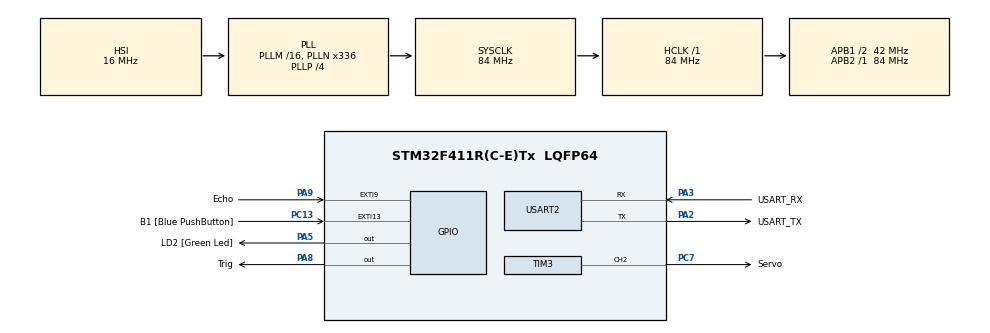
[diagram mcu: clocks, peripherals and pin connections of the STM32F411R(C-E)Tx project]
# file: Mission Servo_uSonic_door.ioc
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Mcu.Family=STM32F4
Mcu.Name=STM32F411R(C-E)Tx
Mcu.Package=LQFP64
NVIC.EXTI9_5_IRQn=true\:0\:0\:false\:false\:true\:true\:true\:true
NVIC.PriorityGroup=NVIC_PRIORITYGROUP_0
NVIC.TIM4_IRQn=true\:0\:0\:false\:false\:true\:true\:true\:true
PA13.GPIO_Label=TMS
PA13.Mode=Serial_Wire
PA13.Signal=SYS_JTMS-SWDIO
PA14.GPIO_Label=TCK
PA14.Mode=Serial_Wire
PA14.Signal=SYS_JTCK-SWCLK
PA2.GPIO_Label=USART_TX
PA2.Mode=Asynchronous
PA2.Signal=USART2_TX
PA3.GPIO_Label=USART_RX
PA3.Mode=Asynchronous
PA3.Signal=USART2_RX
PA5.GPIO_Label=LD2 [Green Led]
PA5.Signal=GPIO_Output
PA8.GPIO_Label=Trig
PA8.Signal=GPIO_Output
PA9.GPIO_Label=Echo
PA9.GPIO_ModeDefaultEXTI=GPIO_MODE_IT_RISING_FALLING
PA9.Signal=GPXTI9
PB3.GPIO_Label=SWO
PB3.Signal=SYS_JTDO-SWO
PC13-ANTI_TAMP.GPIO_Label=B1 [Blue PushButton]
PC13-ANTI_TAMP.GPIO_ModeDefaultEXTI=GPIO_MODE_IT_FALLING
PC13-ANTI_TAMP.Signal=GPXTI13
PC14-OSC32_IN.Mode=LSE-External-Oscillator
PC14-OSC32_IN.Signal=RCC_OSC32_IN
PC15-OSC32_OUT.Mode=LSE-External-Oscillator
PC15-OSC32_OUT.Signal=RCC_OSC32_OUT
PC7.GPIO_Label=Servo
PC7.Signal=S_TIM3_CH2
PH0\ -\ OSC_IN.Mode=HSE-External-Clock-Source
PH0\ -\ OSC_IN.Signal=RCC_OSC_IN
PH1\ -\ OSC_OUT.Mode=HSE-External-Clock-Source
PH1\ -\ OSC_OUT.Signal=RCC_OSC_OUT
ProjectManager.HeapSize=0x200
ProjectManager.StackSize=0x400
ProjectManager.TargetToolchain=STM32CubeIDE
RCC.48MHZClocksFreq_Value=84000000
RCC.AHBFreq_Value=84000000
RCC.APB1CLKDivider=RCC_HCLK_DIV2
RCC.APB1Freq_Value=42000000
RCC.APB1TimFreq_Value=84000000
RCC.APB2Freq_Value=84000000
RCC.APB2TimFreq_Value=84000000
RCC.CortexFreq_Value=84000000
RCC.FLatency-AdvancedSettings=FLASH_LATENCY_2
RCC.HCLKFreq_Value=84000000
RCC.HSE_VALUE=8000000
RCC.HSI_VALUE=16000000
RCC.PLLN=336
RCC.PLLP=RCC_PLLP_DIV4
RCC.SYSCLKFreq_VALUE=84000000
RCC.SYSCLKSource=RCC_SYSCLKSOURCE_PLLCLK
RCC.VCOOutputFreq_Value=336000000
SH.S_TIM3_CH2.0=TIM3_CH2,PWM Generation2 CH2
TIM2.Prescaler=84-1
TIM3.Channel-PWM\ Generation2\ CH2=TIM_CHANNEL_2
TIM3.Period=1000-1
TIM3.Prescaler=1680-1
TIM3.Pulse-PWM\ Generation2\ CH2=50
TIM4.Period=5000-1
TIM4.Prescaler=2100-1
USART2.VirtualMode=VM_ASYNC
VP_TIM2_VS_ClockSourceINT.Mode=Internal
VP_TIM4_VS_ClockSourceINT.Mode=Internal
board=NUCLEO-F411RE

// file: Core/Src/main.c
/* USER CODE BEGIN Header */
/**
  ******************************************************************************
  * @file           : main.c
  * @brief          : Main program body
  ******************************************************************************
  * @attention
  *
  * Copyright (c) 2025 STMicroelectronics.
  * All rights reserved.
  *
  * This software is licensed under terms that can be found in the LICENSE file
  * in the root directory of this software component.
  * If no LICENSE file comes with this software, it is provided AS-IS.
  *
  ******************************************************************************
  */
/* USER CODE END Header */
#include "main.h"

TIM_HandleTypeDef htim2;
TIM_HandleTypeDef htim3;
TIM_HandleTypeDef htim4;

UART_HandleTypeDef huart2;

void SystemClock_Config(void);
static void MX_GPIO_Init(void);
static void MX_USART2_UART_Init(void);
static void MX_TIM3_Init(void);
static void MX_TIM2_Init(void);
static void MX_TIM4_Init(void);

/* USER CODE BEGIN 0 */
int t1 = 0, t2 = 0;
double dist = 0.0;
void HAL_GPIO_EXTI_Callback(uint16_t GPIO_Pin)
{

	if(GPIO_Pin == Echo_Pin)
	{
		if(HAL_GPIO_ReadPin(Echo_GPIO_Port, Echo_Pin) == 1) //rising edge
		{
			t1 = htim2.Instance->CNT;
		}
		else  //falling edge
		{
			t2 = htim2.Instance->CNT;
			dist = (t2 - t1) * 0.17;
			if(dist <200)
			htim3.Instance->CCR2 = 50;
			else
			htim3.Instance->CCR2 = 120;

		}
	}
}

void HAL_TIM_PeriodElapsedCallback(TIM_HandleTypeDef *htim)
{
	Trigger();
}

/* USER CODE END 0 */

int main(void)
{

  /* MCU Configuration--------------------------------------------------------*/

  /* Reset of all peripherals, Initializes the Flash interface and the Systick. */
  HAL_Init();

  /* Configure the system clock */
  SystemClock_Config();

  /* Initialize all configured peripherals */
  MX_GPIO_Init();
  MX_USART2_UART_Init();
  MX_TIM3_Init();
  MX_TIM2_Init();
  MX_TIM4_Init();
  /* USER CODE BEGIN 2 */
  ProgramStart("Auto doorlock - Servo and uSonic");
  HAL_TIM_PWM_Start(&htim3, TIM_CHANNEL_2);
  HAL_TIM_Base_Start (&htim2);
  HAL_TIM_Base_Start_IT (&htim4);

  /* USER CODE END 2 */

  /* Infinite loop */
  /* USER CODE BEGIN WHILE */
  while (1)
  {

	  printf("Distance = %f\r\n" , dist);
	  HAL_Delay(500);
	  if(dist <200)
	  {
//		  htim3.Instance->CCR2 = 50;
		  printf("open the door\r\n");

	  }
	  else
	  {
		  //htim3.Instance->CCR2 = 120;
		  printf("close the door\r\n");

	  }
    /* USER CODE END WHILE */

  }
}

void SystemClock_Config(void)
{
  RCC_OscInitTypeDef RCC_OscInitStruct = {0};
  RCC_ClkInitTypeDef RCC_ClkInitStruct = {0};

  /** Configure the main internal regulator output voltage
  */
  __HAL_RCC_PWR_CLK_ENABLE();
  __HAL_PWR_VOLTAGESCALING_CONFIG(PWR_REGULATOR_VOLTAGE_SCALE1);

  /** Initializes the RCC Oscillators according to the specified parameters
  * in the RCC_OscInitTypeDef structure.
  */
  RCC_OscInitStruct.OscillatorType = RCC_OSCILLATORTYPE_HSI;
  RCC_OscInitStruct.HSIState = RCC_HSI_ON;
  RCC_OscInitStruct.HSICalibrationValue = RCC_HSICALIBRATION_DEFAULT;
  RCC_OscInitStruct.PLL.PLLState = RCC_PLL_ON;
  RCC_OscInitStruct.PLL.PLLSource = RCC_PLLSOURCE_HSI;
  RCC_OscInitStruct.PLL.PLLM = 16;
  RCC_OscInitStruct.PLL.PLLN = 336;
  RCC_OscInitStruct.PLL.PLLP = RCC_PLLP_DIV4;
  RCC_OscInitStruct.PLL.PLLQ = 4;
  if (HAL_RCC_OscConfig(&RCC_OscInitStruct) != HAL_OK)
  {
    Error_Handler();
  }

  /** Initializes the CPU, AHB and APB buses clocks
  */
  RCC_ClkInitStruct.ClockType = RCC_CLOCKTYPE_HCLK|RCC_CLOCKTYPE_SYSCLK
                              |RCC_CLOCKTYPE_PCLK1|RCC_CLOCKTYPE_PCLK2;
  RCC_ClkInitStruct.SYSCLKSource = RCC_SYSCLKSOURCE_PLLCLK;
  RCC_ClkInitStruct.AHBCLKDivider = RCC_SYSCLK_DIV1;
  RCC_ClkInitStruct.APB1CLKDivider = RCC_HCLK_DIV2;
  RCC_ClkInitStruct.APB2CLKDivider = RCC_HCLK_DIV1;

  if (HAL_RCC_ClockConfig(&RCC_ClkInitStruct, FLASH_LATENCY_2) != HAL_OK)
  {
    Error_Handler();
  }
}

static void MX_TIM2_Init(void)
{

  TIM_ClockConfigTypeDef sClockSourceConfig = {0};
  TIM_MasterConfigTypeDef sMasterConfig = {0};

  htim2.Instance = TIM2;
  htim2.Init.Prescaler = 84-1;
  htim2.Init.CounterMode = TIM_COUNTERMODE_UP;
  htim2.Init.Period = 4294967295;
  htim2.Init.ClockDivision = TIM_CLOCKDIVISION_DIV1;
  htim2.Init.AutoReloadPreload = TIM_AUTORELOAD_PRELOAD_DISABLE;
  if (HAL_TIM_Base_Init(&htim2) != HAL_OK)
  {
    Error_Handler();
  }
  sClockSourceConfig.ClockSource = TIM_CLOCKSOURCE_INTERNAL;
  if (HAL_TIM_ConfigClockSource(&htim2, &sClockSourceConfig) != HAL_OK)
  {
    Error_Handler();
  }
  sMasterConfig.MasterOutputTrigger = TIM_TRGO_RESET;
  sMasterConfig.MasterSlaveMode = TIM_MASTERSLAVEMODE_DISABLE;
  if (HAL_TIMEx_MasterConfigSynchronization(&htim2, &sMasterConfig) != HAL_OK)
  {
    Error_Handler();
  }

}

static void MX_TIM3_Init(void)
{

  TIM_MasterConfigTypeDef sMasterConfig = {0};
  TIM_OC_InitTypeDef sConfigOC = {0};

  htim3.Instance = TIM3;
  htim3.Init.Prescaler = 1680-1;
  htim3.Init.CounterMode = TIM_COUNTERMODE_UP;
  htim3.Init.Period = 1000-1;
  htim3.Init.ClockDivision = TIM_CLOCKDIVISION_DIV1;
  htim3.Init.AutoReloadPreload = TIM_AUTORELOAD_PRELOAD_DISABLE;
  if (HAL_TIM_PWM_Init(&htim3) != HAL_OK)
  {
    Error_Handler();
  }
  sMasterConfig.MasterOutputTrigger = TIM_TRGO_RESET;
  sMasterConfig.MasterSlaveMode = TIM_MASTERSLAVEMODE_DISABLE;
  if (HAL_TIMEx_MasterConfigSynchronization(&htim3, &sMasterConfig) != HAL_OK)
  {
    Error_Handler();
  }
  sConfigOC.OCMode = TIM_OCMODE_PWM1;
  sConfigOC.Pulse = 50;
  sConfigOC.OCPolarity = TIM_OCPOLARITY_HIGH;
  sConfigOC.OCFastMode = TIM_OCFAST_DISABLE;
  if (HAL_TIM_PWM_ConfigChannel(&htim3, &sConfigOC, TIM_CHANNEL_2) != HAL_OK)
  {
    Error_Handler();
  }
  HAL_TIM_MspPostInit(&htim3);

}

static void MX_TIM4_Init(void)
{

  TIM_ClockConfigTypeDef sClockSourceConfig = {0};
  TIM_MasterConfigTypeDef sMasterConfig = {0};

  htim4.Instance = TIM4;
  htim4.Init.Prescaler = 2100-1;
  htim4.Init.CounterMode = TIM_COUNTERMODE_UP;
  htim4.Init.Period = 5000-1;
  htim4.Init.ClockDivision = TIM_CLOCKDIVISION_DIV1;
  htim4.Init.AutoReloadPreload = TIM_AUTORELOAD_PRELOAD_DISABLE;
  if (HAL_TIM_Base_Init(&htim4) != HAL_OK)
  {
    Error_Handler();
  }
  sClockSourceConfig.ClockSource = TIM_CLOCKSOURCE_INTERNAL;
  if (HAL_TIM_ConfigClockSource(&htim4, &sClockSourceConfig) != HAL_OK)
  {
    Error_Handler();
  }
  sMasterConfig.MasterOutputTrigger = TIM_TRGO_RESET;
  sMasterConfig.MasterSlaveMode = TIM_MASTERSLAVEMODE_DISABLE;
  if (HAL_TIMEx_MasterConfigSynchronization(&htim4, &sMasterConfig) != HAL_OK)
  {
    Error_Handler();
  }

}

static void MX_USART2_UART_Init(void)
{

  huart2.Instance = USART2;
  huart2.Init.BaudRate = 115200;
  huart2.Init.WordLength = UART_WORDLENGTH_8B;
  huart2.Init.StopBits = UART_STOPBITS_1;
  huart2.Init.Parity = UART_PARITY_NONE;
  huart2.Init.Mode = UART_MODE_TX_RX;
  huart2.Init.HwFlowCtl = UART_HWCONTROL_NONE;
  huart2.Init.OverSampling = UART_OVERSAMPLING_16;
  if (HAL_UART_Init(&huart2) != HAL_OK)
  {
    Error_Handler();
  }

}

static void MX_GPIO_Init(void)
{
  GPIO_InitTypeDef GPIO_InitStruct = {0};

  /* GPIO Ports Clock Enable */
  __HAL_RCC_GPIOC_CLK_ENABLE();
  __HAL_RCC_GPIOH_CLK_ENABLE();
  __HAL_RCC_GPIOA_CLK_ENABLE();
  __HAL_RCC_GPIOB_CLK_ENABLE();

  /*Configure GPIO pin Output Level */
  HAL_GPIO_WritePin(GPIOA, LD2_Pin|Trig_Pin, GPIO_PIN_RESET);

  /*Configure GPIO pin : B1_Pin */
  GPIO_InitStruct.Pin = B1_Pin;
  GPIO_InitStruct.Mode = GPIO_MODE_IT_FALLING;
  GPIO_InitStruct.Pull = GPIO_NOPULL;
  HAL_GPIO_Init(B1_GPIO_Port, &GPIO_InitStruct);

  /*Configure GPIO pins : LD2_Pin Trig_Pin */
  GPIO_InitStruct.Pin = LD2_Pin|Trig_Pin;
  GPIO_InitStruct.Mode = GPIO_MODE_OUTPUT_PP;
  GPIO_InitStruct.Pull = GPIO_NOPULL;
  GPIO_InitStruct.Speed = GPIO_SPEED_FREQ_LOW;
  HAL_GPIO_Init(GPIOA, &GPIO_InitStruct);

  /*Configure GPIO pin : Echo_Pin */
  GPIO_InitStruct.Pin = Echo_Pin;
  GPIO_InitStruct.Mode = GPIO_MODE_IT_RISING_FALLING;
  GPIO_InitStruct.Pull = GPIO_NOPULL;
  HAL_GPIO_Init(Echo_GPIO_Port, &GPIO_InitStruct);

  /* EXTI interrupt init*/
  HAL_NVIC_SetPriority(EXTI9_5_IRQn, 0, 0);
  HAL_NVIC_EnableIRQ(EXTI9_5_IRQn);

}

void Error_Handler(void)
{
  __disable_irq();
  while (1)
  {
  }
}
